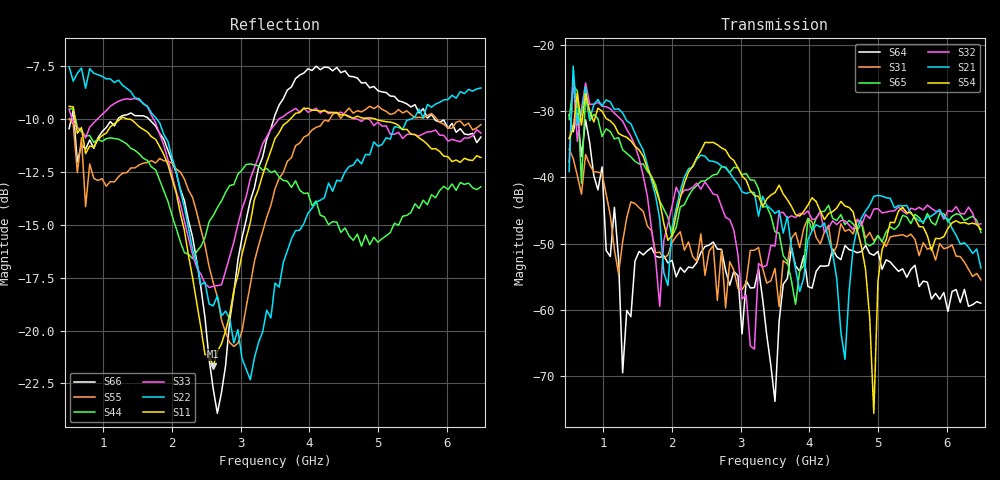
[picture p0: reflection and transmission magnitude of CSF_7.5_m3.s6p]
!Keysight Technologies,M9804A,MY58100912,A.14.10.03
!Date: Thursday, April 27, 2023 10:28:33
!Correction: S11(C  6-Port  )
!S12(C  6-Port  )
!S13(C  6-Port  )
!S14(C  6-Port  )
!S15(C  6-Port  )
!S16(C  6-Port  )
!S21(C  6-Port  )
!S22(C  6-Port  )
!S23(C  6-Port  )
!S24(C  6-Port  )
!S25(C  6-Port  )
!S26(C  6-Port  )
!S31(C  6-Port  )
!S32(C  6-Port  )
!S33(C  6-Port  )
!S34(C  6-Port  )
!S35(C  6-Port  )
!S36(C  6-Port  )
!S41(C  6-Port  )
!S42(C  6-Port  )
!S43(C  6-Port  )
!S44(C  6-Port  )
!S45(C  6-Port  )
!S46(C  6-Port  )
!S51(C  6-Port  )
!S52(C  6-Port  )
!S53(C  6-Port  )
!S54(C  6-Port  )
!S55(C  6-Port  )
!S56(C  6-Port  )
!S61(C  6-Port  )
!S62(C  6-Port  )
!S63(C  6-Port  )
!S64(C  6-Port  )
!S65(C  6-Port  )
!S66(C  6-Port  )
!S6P File: Measurement: :
# Hz S  RI  R 50
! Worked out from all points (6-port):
!   101 points, 500 MHz to 6.5 GHz, reference 50 ohm
!   strongest paths, dB at 500 MHz, 2 GHz, 3.5 GHz, 5 GHz, 6.5 GHz:
!     S54: -34.2, -48.7, -42.3, -55.6, -47.8
!     S21: -39.1, -47.6, -45.4, -42.7, -53.7
!     S32: -37.7, -44.3, -50.4, -44.7, -47.0
!     S65: -31.2, -48.9, -48.2, -48.7, -48.3
!     S31: -35.8, -49.8, -53.7, -48.8, -55.4
!     S64: -30.6, -52.5, -73.7, -51.2, -59.0
!   lowest |S11| = -21.7 dB at 2.6 GHz (marker M1), VSWR 1.18, Z = 42.7 + j2.02 ohm
!   |S11| at or under -10 dB: 587.8 MHz to 1.244 GHz (655.9 MHz wide, 71.6 % of centre); 1.371 GHz to 3.72 GHz (2.349 GHz wide, 92.3 % of centre); 4.966 GHz to end of sweep
